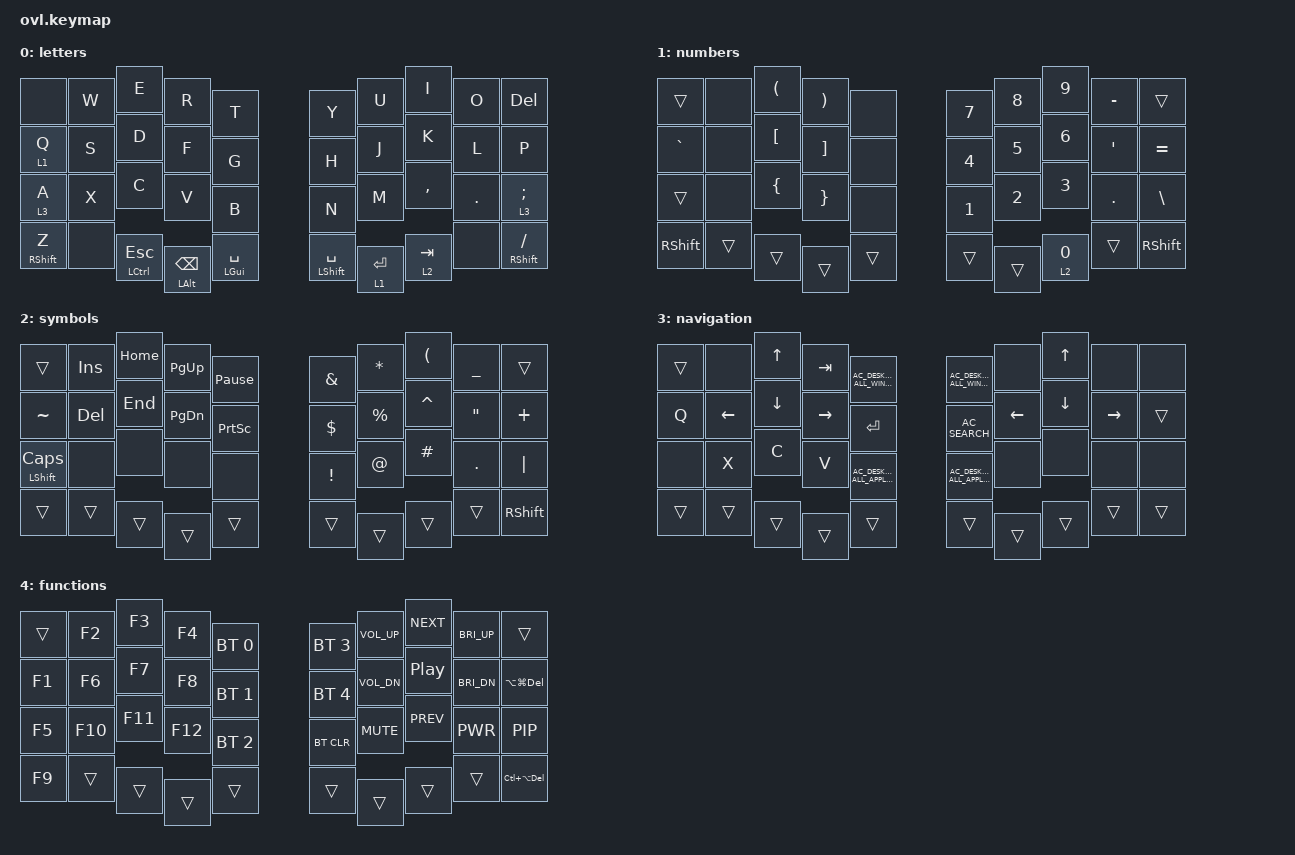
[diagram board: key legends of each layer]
// This file was generated from a template. Edit it to match your keyboard.
// See https://zmk.dev/docs/development/hardware-integration/new-shield for more instructions.

#include <behaviors.dtsi>
#include <dt-bindings/zmk/keys.h>
#include <dt-bindings/zmk/bt.h>

/ {
    // Define a default keymap here.
    // See https://zmk.dev/docs/development/hardware-integration/new-shield#default-keymap.
keymap {
        compatible = "zmk,keymap";

        letters {
            bindings = <
            &none        &kp W  &kp E          &kp R               &kp T             &kp Y             &kp U      &kp I      &kp O    &kp DEL
            &lt 1 Q      &kp S  &kp D          &kp F               &kp G             &kp H             &kp J      &kp K      &kp L    &kp P
            &lt 3 A      &kp X  &kp C          &kp V               &kp B             &kp N             &kp M      &kp COMMA  &kp DOT  &lt 3 SEMI
            &mt RSHFT Z  &none  &mt LCTRL ESC  &mt LALT BACKSPACE  &mt LGUI SPACE    &mt LSHIFT SPACE  &lt 1 RET  &lt 2 TAB  &none  &mt RIGHT_SHIFT FSLH
            >;
        };

        numbers {
            bindings = <
            &trans      &none   &kp LPAR          &kp RPAR           &none     &kp N7  &kp N8  &kp N9    &kp MINUS  &trans
            &kp GRAVE   &none   &kp LEFT_BRACKET  &kp RIGHT_BRACKET  &none     &kp N4  &kp N5  &kp N6    &kp APOS   &kp EQUAL
            &trans      &none   &kp LEFT_BRACE    &kp RIGHT_BRACE    &none     &kp N1  &kp N2  &kp N3    &kp DOT    &kp BSLH
            &kp RSHFT   &trans  &trans            &trans             &trans    &trans  &trans  &lt 2 N0  &trans     &kp RSHFT
            >;
        };

        symbols {
            bindings = <
            &trans               &kp INS  &kp HOME  &kp PG_UP  &kp PAUSE_BREAK    &kp AMPS         &kp STAR     &kp LPAR   &kp UNDER          &trans
            &kp TILDE            &kp DEL  &kp END   &kp PG_DN  &kp PRINTSCREEN    &kp DOLLAR       &kp PERCENT  &kp CARET  &kp DOUBLE_QUOTES  &kp PLUS
            &mt LSHIFT CAPSLOCK  &none    &none     &none      &none              &kp EXCLAMATION  &kp AT       &kp HASH   &kp DOT            &kp PIPE
            &trans               &trans   &trans    &trans     &trans             &trans           &trans       &trans     &trans             &kp RSHIFT
            >;
        };

        navigation {
            bindings = <
            &trans  &none     &kp UP    &kp TAB    &kp C_AC_DESKTOP_SHOW_ALL_WINDOWS         &kp C_AC_DESKTOP_SHOW_ALL_WINDOWS       &none     &kp UP    &none      &none
            &kp Q   &kp LEFT  &kp DOWN  &kp RIGHT  &kp ENTER                                 &kp C_AC_SEARCH                         &kp LEFT  &kp DOWN  &kp RIGHT  &trans
            &none   &kp X     &kp C     &kp V      &kp C_AC_DESKTOP_SHOW_ALL_APPLICATIONS    &kp C_AC_DESKTOP_SHOW_ALL_APPLICATIONS  &none     &none     &none      &none
            &trans  &trans    &trans    &trans     &trans                                    &trans                                  &trans    &trans    &trans     &trans
            >;
        };

        functions {
            bindings = <
            &trans  &kp F2   &kp F3   &kp F4   &bt BT_SEL 0    &bt BT_SEL 3  &kp C_VOL_UP  &kp C_NEXT  &kp C_BRI_UP  &trans
            &kp F1  &kp F6   &kp F7   &kp F8   &bt BT_SEL 1    &bt BT_SEL 4  &kp C_VOL_DN  &kp C_PP    &kp C_BRI_DN  &kp LA(LG(DELETE))
            &kp F5  &kp F10  &kp F11  &kp F12  &bt BT_SEL 2    &bt BT_CLR    &kp C_MUTE    &kp C_PREV  &kp C_PWR     &kp C_PIP
            &kp F9  &trans   &trans   &trans   &trans          &trans        &trans        &trans      &trans        &kp LC(LA(DELETE))
            >;
        };
    };

    conditional_layers {
        compatible = "zmk,conditional-layers";

        both {
            if-layers = <1 2>;
            then-layer = <4>;
        };
    };

    sensor-bindings = <&inc_dec_kp C_VOL_UP C_VOL_DN>;
};
